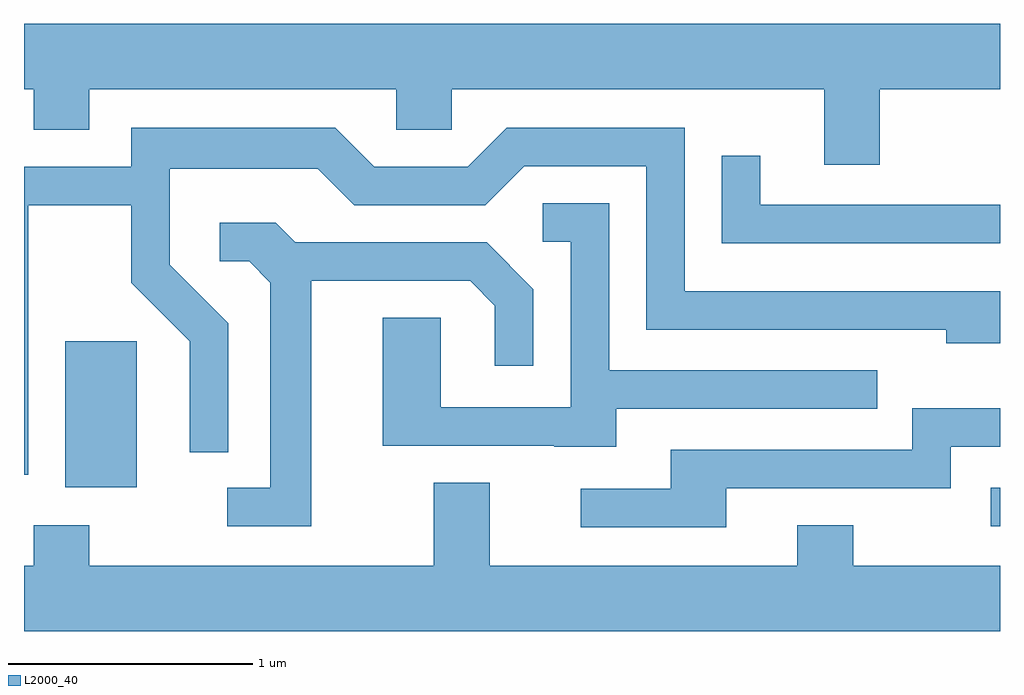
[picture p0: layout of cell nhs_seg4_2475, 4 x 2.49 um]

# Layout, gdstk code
import gdstk
lib = gdstk.Library(unit=1e-6, precision=1e-09)
def R(c, l, rs):  # rectangles x0, y0, x1, y1
    for r in rs: c.add(gdstk.rectangle(r[:2], r[2:], *l))
def P(c, l, *ps):  # polygons
    for p in ps: c.add(gdstk.Polygon(p, *l))
L2000_40 = (2000, 40)

nhs_seg4_2475 = lib.new_cell('nhs_seg4_2475')
R(nhs_seg4_2475, L2000_40, [(261.573,1308.486,261.611,1308.644), (257.781,1308.646,258.074,1309.244)])
P(nhs_seg4_2475, L2000_40, [(261.119,1310.276),(261.611,1310.276),(261.611,1310.544),(257.611,1310.544),(257.611,1310.276),(257.651,1310.276),(257.651,1310.111),(257.879,1310.111),(257.879,1310.276),(259.136,1310.276),(259.136,1310.111),(259.364,1310.111),(259.364,1310.276),(260.891,1310.276),(260.891,1309.966),(261.119,1309.966)],
  [(257.629,1309.801),(258.051,1309.801),(258.051,1309.484),(258.291,1309.244),(258.291,1308.788),(258.449,1308.788),(258.449,1309.317),(258.209,1309.557),(258.209,1309.951),(258.814,1309.951),(258.964,1309.801),(259.502,1309.801),(259.662,1309.961),(260.161,1309.961),(260.161,1309.291),(261.391,1309.291),(261.391,1309.236),(261.611,1309.236),(261.611,1309.449),(260.319,1309.449),(260.319,1310.119),(259.589,1310.119),(259.429,1309.959),(259.046,1309.959),(258.887,1310.119),(258.051,1310.119),(258.051,1309.959),(257.611,1309.959),(257.611,1308.696),(257.629,1308.696)],
  [(261.611,1309.804),(260.629,1309.804),(260.629,1310.003),(260.471,1310.003),(260.471,1309.646),(261.611,1309.646)],
  [(260.039,1308.966),(261.108,1308.966),(261.108,1309.124),(260.009,1309.124),(260.009,1309.809),(259.738,1309.809),(259.738,1309.651),(259.851,1309.651),(259.851,1308.974),(259.319,1308.974),(259.319,1309.339),(259.081,1309.339),(259.081,1308.816),(259.785,1308.816),(259.785,1308.811),(260.039,1308.811)],
  [(258.789,1309.491),(259.439,1309.491),(259.541,1309.389),(259.541,1309.143),(259.699,1309.143),(259.699,1309.457),(259.507,1309.649),(258.722,1309.649),(258.642,1309.729),(258.413,1309.729),(258.413,1309.571),(258.534,1309.571),(258.621,1309.484),(258.621,1308.644),(258.443,1308.644),(258.443,1308.486),(258.789,1308.486)],
  [(260.489,1308.641),(261.409,1308.641),(261.409,1308.811),(261.611,1308.811),(261.611,1308.969),(261.251,1308.969),(261.251,1308.799),(260.261,1308.799),(260.261,1308.639),(259.892,1308.639),(259.892,1308.481),(260.489,1308.481)],
  [(261.611,1308.324),(261.009,1308.324),(261.009,1308.489),(260.781,1308.489),(260.781,1308.324),(259.519,1308.324),(259.519,1308.664),(259.291,1308.664),(259.291,1308.324),(257.879,1308.324),(257.879,1308.489),(257.651,1308.489),(257.651,1308.324),(257.611,1308.324),(257.611,1308.056),(261.611,1308.056)])

lib.write_gds('nhs_seg4_2475.gds')
